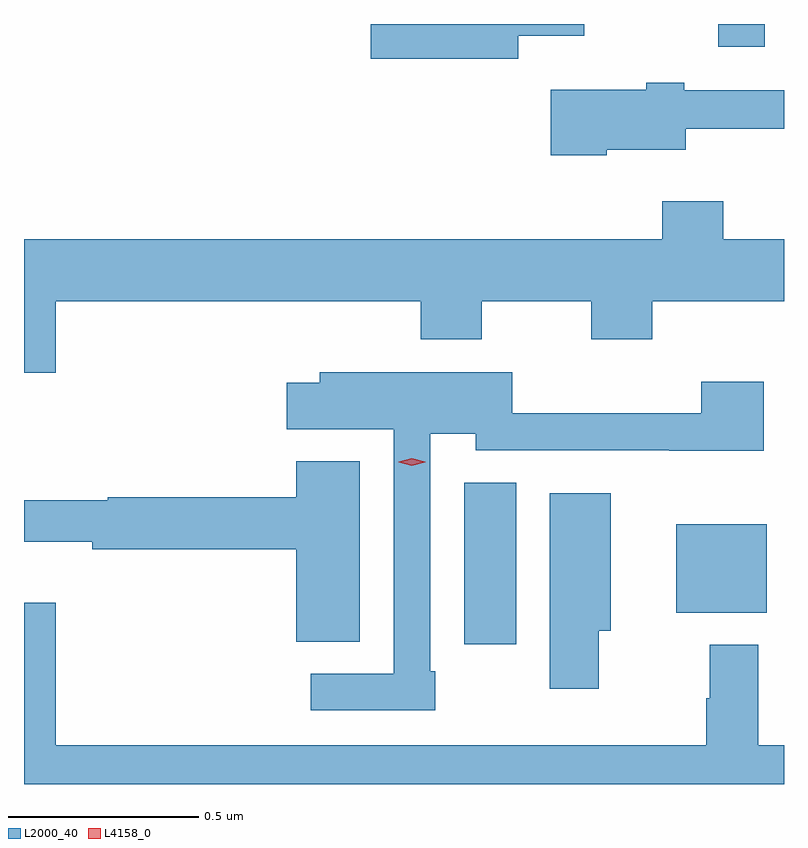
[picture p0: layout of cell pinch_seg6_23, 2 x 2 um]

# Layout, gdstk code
import gdstk
lib = gdstk.Library(unit=1e-6, precision=1e-09)
def R(c, l, rs):  # rectangles x0, y0, x1, y1
    for r in rs: c.add(gdstk.rectangle(r[:2], r[2:], *l))
def P(c, l, *ps):  # polygons
    for p in ps: c.add(gdstk.Polygon(p, *l))
L2000_40 = (2000, 40)
L4158_0 = (4158, 0)

pinch_seg6_23 = lib.new_cell('pinch_seg6_23')
R(pinch_seg6_23, L2000_40, [(957.455,965.082,957.592,965.507), (958.013,965.165,958.252,965.398), (958.124,966.654,958.246,966.714)])
P(pinch_seg6_23, L2000_40, [(957.598,966.683),(957.771,966.683),(957.771,966.714),(957.21,966.714),(957.21,966.622),(957.598,966.622)],
  [(957.831,966.383),(958.039,966.383),(958.039,966.439),(958.297,966.439),(958.297,966.54),(958.035,966.54),(958.035,966.56),(957.935,966.56),(957.935,966.541),(957.683,966.541),(957.683,966.368),(957.831,966.368)],
  [(956.38,965.984),(957.341,965.984),(957.341,965.885),(957.501,965.885),(957.501,965.984),(957.79,965.984),(957.79,965.885),(957.95,965.885),(957.95,965.984),(958.297,965.984),(958.297,966.148),(958.137,966.148),(958.137,966.247),(957.977,966.247),(957.977,966.148),(956.297,966.148),(956.297,965.796),(956.38,965.796)],
  [(957.379,965.011),(957.366,965.011),(957.366,965.636),(957.486,965.636),(957.486,965.592),(957.995,965.592),(957.995,965.591),(958.244,965.591),(958.244,965.773),(958.079,965.773),(958.079,965.69),(957.582,965.69),(957.582,965.797),(957.075,965.797),(957.075,965.77),(956.988,965.77),(956.988,965.648),(957.27,965.648),(957.27,965.004),(957.051,965.004),(957.051,964.908),(957.379,964.908)],
  [(957.181,965.563),(957.014,965.563),(957.014,965.468),(956.518,965.468),(956.518,965.461),(956.297,965.461),(956.297,965.351),(956.476,965.351),(956.476,965.332),(957.014,965.332),(957.014,965.089),(957.181,965.089)],
  [(957.81,965.117),(957.841,965.117),(957.841,965.479),(957.68,965.479),(957.68,964.965),(957.81,964.965)],
  [(958.297,964.816),(958.229,964.816),(958.229,965.08),(958.101,965.08),(958.101,964.94),(958.093,964.94),(958.093,964.816),(956.38,964.816),(956.38,965.191),(956.297,965.191),(956.297,964.714),(958.297,964.714)])
P(pinch_seg6_23, L4158_0, [(957.318,965.551),(957.283,965.561),(957.283,965.561),(957.283,965.562),(957.318,965.571),(957.353,965.562),(957.353,965.561),(957.353,965.561)])

lib.write_gds('pinch_seg6_23.gds')
